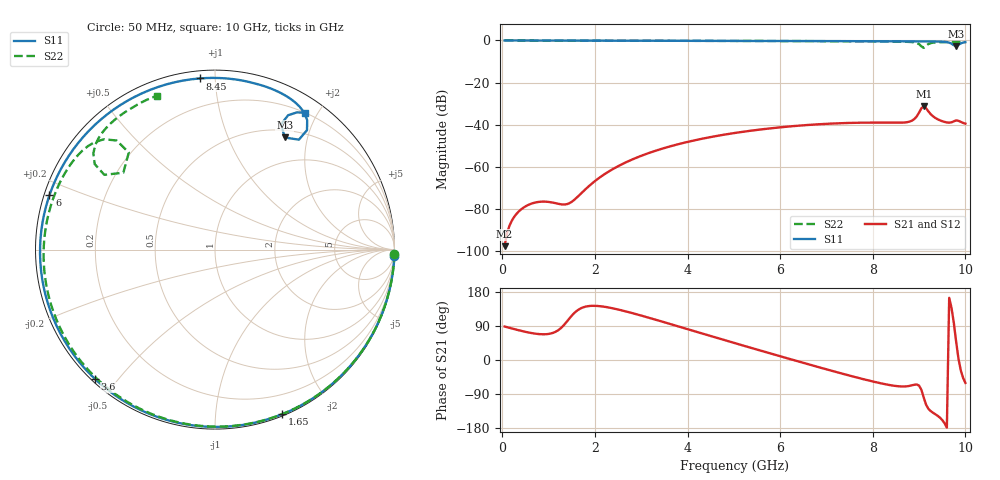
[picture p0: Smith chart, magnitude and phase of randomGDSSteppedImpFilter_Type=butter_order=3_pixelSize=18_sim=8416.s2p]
! freq	dB(S11)	phase(S11)	dB(S12)	phase(S12)
!  dB(S21)	phase(S21)	dB(S22)	phase(S22)
!S-par simulation data
#  GHz  S  DB  R 50
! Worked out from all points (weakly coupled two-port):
!   200 points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, 50 MHz to 10 GHz, reference 50 ohm
!   highest |S21| = -31.32 dB at 9.1 GHz (marker M1); lowest = -97.8 dB at 50 MHz (marker M2)
!   lowest |S11| = -2.7 dB at 9.8 GHz (marker M3), VSWR 6.57, Z = 30 + j81.7 ohm
!   |S11| at or under -10 dB: nowhere
!   |S22| runs from -3.5 to 0.0 dB; largest |S21 - S12| = 0
!   S11 on the Smith chart (normalised r, x): 50 MHz: 0, -53; 1.65 GHz: 0.02, -1.49; 3.6 GHz: 0.01, -0.44; 6 GHz: 0.02, +0.16; 8.45 GHz: 0.04, +0.92; 10 GHz: 0.20, +1.83
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0.05  -0.00 -2.2  -97.83 88.3  -97.83 88.3  -0.00 -1.3
0.4  -0.02 -17.2  -80.44 77.1  -80.44 77.1  -0.01 -10.2
0.85  -0.05 -36.1  -76.66 67.9  -76.66 67.9  -0.03 -21.5
1.35  -0.07 -56.2  -78.01 94.9  -78.01 94.9  -0.04 -33.9
1.65  -0.08 -67.8  -73.86 133.3  -73.86 133.3  -0.05 -41.3
1.75  -0.09 -71.6  -71.72 139.1  -71.72 139.1  -0.06 -43.7
2.45  -0.11 -96.5  -60.39 134.7  -60.39 134.7  -0.08 -60.6
3.4  -0.14 -126.9  -51.82 103.2  -51.82 103.2  -0.11 -82.8
3.6  -0.15 -132.8  -50.51 96.0  -50.51 96.0  -0.12 -87.3
5.05  -0.21 -173.2  -43.90 43.5  -43.90 43.5  -0.18 -119.9
6  -0.26 161.8  -41.32 9.9  -41.32 9.9  -0.25 -141.3
6.7  -0.29 143.3  -40.04 -14.4  -40.04 -14.4  -0.31 -157.6
7.55  -0.34 120.4  -39.19 -42.8  -39.19 -42.8  -0.40 -178.6
8.35  -0.37 97.9  -39.12 -65.8  -39.12 -65.8  -0.51 159.1
8.45  -0.38 95.0  -39.14 -67.8  -39.14 -67.8  -0.53 156.0
8.8  -0.40 84.7  -38.56 -68.2  -38.56 -68.2  -0.71 143.2
8.95  -0.41 80.2  -36.09 -64.6  -36.09 -64.6  -1.19 135.1
9.1  -0.43 75.6  -31.32 -98.9  -31.32 -98.9  -3.52 140.0
9.25  -0.45 70.7  -35.03 -134.8  -35.03 -134.8  -1.27 141.7
9.65  -1.05 54.6  -39.09 164.0  -39.09 164.0  -0.77 123.7
9.8  -2.67 58.1  -38.02 48.6  -38.02 48.6  -0.76 118.2
10  -0.81 56.8  -39.57 -60.4  -39.57 -60.4  -0.76 110.6
